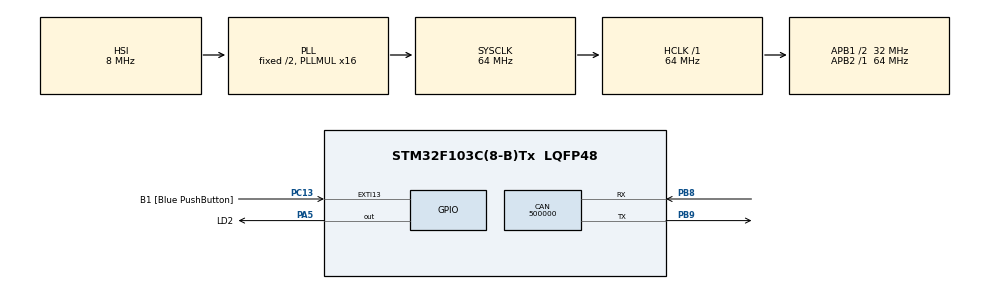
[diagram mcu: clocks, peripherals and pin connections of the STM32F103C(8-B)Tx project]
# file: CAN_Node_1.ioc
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CAN.BS1=CAN_BS1_2TQ
CAN.CalculateBaudRate=500000
CAN.CalculateTimeBit=2000
CAN.CalculateTimeQuantum=500.0
CAN.Mode=CAN_MODE_NORMAL
Mcu.Family=STM32F1
Mcu.Name=STM32F103C(8-B)Tx
Mcu.Package=LQFP48
NVIC.EXTI15_10_IRQn=true\:4\:0\:true\:false\:true\:true\:true\:true
NVIC.PriorityGroup=NVIC_PRIORITYGROUP_4
PA13.Mode=Serial_Wire
PA13.Signal=SYS_JTMS-SWDIO
PA14.Mode=Serial_Wire
PA14.Signal=SYS_JTCK-SWCLK
PA5.GPIO_Label=LD2
PA5.Signal=GPIO_Output
PB8.Mode=CAN_Activate
PB8.Signal=CAN_RX
PB9.Mode=CAN_Activate
PB9.Signal=CAN_TX
PC13-TAMPER-RTC.GPIO_Label=B1 [Blue PushButton]
PC13-TAMPER-RTC.Signal=GPXTI13
ProjectManager.HeapSize=0x200
ProjectManager.StackSize=0x400
ProjectManager.TargetToolchain=STM32CubeIDE
RCC.AHBFreq_Value=64000000
RCC.APB1CLKDivider=RCC_HCLK_DIV2
RCC.APB1Freq_Value=32000000
RCC.APB1TimFreq_Value=64000000
RCC.APB2Freq_Value=64000000
RCC.APB2TimFreq_Value=64000000
RCC.HCLKFreq_Value=64000000
RCC.PLLMUL=RCC_PLL_MUL16
RCC.SYSCLKFreq_VALUE=64000000
RCC.SYSCLKSource=RCC_SYSCLKSOURCE_PLLCLK
RCC.USBFreq_Value=64000000
board=custom

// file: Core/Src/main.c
/* USER CODE BEGIN Header */
/**
  ******************************************************************************
  * @file           : main.c
  * @brief          : Main program body
  ******************************************************************************
  * @attention
  *
  * Copyright (c) 2023 STMicroelectronics.
  * All rights reserved.
  *
  * This software is licensed under terms that can be found in the LICENSE file
  * in the root directory of this software component.
  * If no LICENSE file comes with this software, it is provided AS-IS.
  *
  ******************************************************************************
  */
/* USER CODE END Header */
#include "main.h"

/* USER CODE BEGIN PD */
#define PDU_ADD		0x01
#define DISCHARGE	0x05
#define PRECHARGE	0x03
#define OFF			0x00
/* USER CODE END PD */

CAN_HandleTypeDef hcan;

/* USER CODE BEGIN PV */
CAN_TxHeaderTypeDef TxHeader;
uint32_t TxMailbox;
uint8_t TxData[8];
uint8_t option = 0;

/* USER CODE END PV */

void SystemClock_Config(void);
static void MX_GPIO_Init(void);
static void MX_CAN_Init(void);
/* USER CODE BEGIN PFP */

void HAL_GPIO_EXTI_Callback(uint16_t GPIO_Pin){
	if(GPIO_Pin == B1_Pin){

/*TESTOWE WYSYLANIE WIADOMOSCI TODO*/
		switch(option){
		case 0:
			option = 1;
			TxData[0] = DISCHARGE;
			TxHeader.StdId = PDU_ADD;
			break;
		case 1:
			option = 2;
			TxData[0] = PRECHARGE;
			TxHeader.StdId = PDU_ADD;
			break;
		case 2:
			option = 0;
			TxData[0] = OFF;
			TxHeader.StdId = PDU_ADD;
			break;
		}
		HAL_CAN_AddTxMessage(&hcan, &TxHeader, TxData, &TxMailbox);
	}
}

/* USER CODE END PFP */

int main(void)
{

  /* MCU Configuration--------------------------------------------------------*/

  /* Reset of all peripherals, Initializes the Flash interface and the Systick. */
  HAL_Init();

  /* Configure the system clock */
  SystemClock_Config();

  /* Initialize all configured peripherals */
  MX_GPIO_Init();
  MX_CAN_Init();

  /* Infinite loop */
  /* USER CODE BEGIN WHILE */

  //	Testowe uruchomienie diody
  HAL_GPIO_WritePin(LD2_GPIO_Port, LD2_Pin, GPIO_PIN_SET);

  while (1)
  {
    /* USER CODE END WHILE */

  }
}

void SystemClock_Config(void)
{
  RCC_OscInitTypeDef RCC_OscInitStruct = {0};
  RCC_ClkInitTypeDef RCC_ClkInitStruct = {0};

  /** Initializes the RCC Oscillators according to the specified parameters
  * in the RCC_OscInitTypeDef structure.
  */
  RCC_OscInitStruct.OscillatorType = RCC_OSCILLATORTYPE_HSI;
  RCC_OscInitStruct.HSIState = RCC_HSI_ON;
  RCC_OscInitStruct.HSICalibrationValue = RCC_HSICALIBRATION_DEFAULT;
  RCC_OscInitStruct.PLL.PLLState = RCC_PLL_ON;
  RCC_OscInitStruct.PLL.PLLSource = RCC_PLLSOURCE_HSI_DIV2;
  RCC_OscInitStruct.PLL.PLLMUL = RCC_PLL_MUL16;
  if (HAL_RCC_OscConfig(&RCC_OscInitStruct) != HAL_OK)
  {
    Error_Handler();
  }

  /** Initializes the CPU, AHB and APB buses clocks
  */
  RCC_ClkInitStruct.ClockType = RCC_CLOCKTYPE_HCLK|RCC_CLOCKTYPE_SYSCLK
                              |RCC_CLOCKTYPE_PCLK1|RCC_CLOCKTYPE_PCLK2;
  RCC_ClkInitStruct.SYSCLKSource = RCC_SYSCLKSOURCE_PLLCLK;
  RCC_ClkInitStruct.AHBCLKDivider = RCC_SYSCLK_DIV1;
  RCC_ClkInitStruct.APB1CLKDivider = RCC_HCLK_DIV2;
  RCC_ClkInitStruct.APB2CLKDivider = RCC_HCLK_DIV1;

  if (HAL_RCC_ClockConfig(&RCC_ClkInitStruct, FLASH_LATENCY_2) != HAL_OK)
  {
    Error_Handler();
  }
}

static void MX_CAN_Init(void)
{

  hcan.Instance = CAN1;
  hcan.Init.Prescaler = 16;
  hcan.Init.Mode = CAN_MODE_NORMAL;
  hcan.Init.SyncJumpWidth = CAN_SJW_1TQ;
  hcan.Init.TimeSeg1 = CAN_BS1_2TQ;
  hcan.Init.TimeSeg2 = CAN_BS2_1TQ;
  hcan.Init.TimeTriggeredMode = DISABLE;
  hcan.Init.AutoBusOff = DISABLE;
  hcan.Init.AutoWakeUp = DISABLE;
  hcan.Init.AutoRetransmission = DISABLE;
  hcan.Init.ReceiveFifoLocked = DISABLE;
  hcan.Init.TransmitFifoPriority = DISABLE;
  if (HAL_CAN_Init(&hcan) != HAL_OK)
  {
    Error_Handler();
  }
  /* USER CODE BEGIN CAN_Init 2 */
  HAL_CAN_Start(&hcan);

  //TxHeader
  TxHeader.DLC = 1;
  TxHeader.IDE = CAN_ID_STD;
  TxHeader.RTR = CAN_RTR_DATA;
  TxHeader.StdId = 0x01;

  //CAN FILTER
  CAN_FilterTypeDef filterConf;
  filterConf.FilterActivation = CAN_FILTER_ENABLE;
  filterConf.FilterBank = 0;
  filterConf.FilterFIFOAssignment = CAN_FILTER_FIFO1;
  filterConf.FilterIdHigh = 0x1<<5;
  filterConf.FilterIdLow = 0;
  filterConf.FilterMaskIdHigh = 0x1<<5;
  filterConf.FilterMaskIdLow = 0;
  filterConf.FilterMode = CAN_FILTERMODE_IDMASK;
  filterConf.FilterScale = CAN_FILTERSCALE_32BIT;
  HAL_CAN_ConfigFilter(&hcan, &filterConf);
  /* USER CODE END CAN_Init 2 */

}

static void MX_GPIO_Init(void)
{
  GPIO_InitTypeDef GPIO_InitStruct = {0};

  /* GPIO Ports Clock Enable */
  __HAL_RCC_GPIOC_CLK_ENABLE();
  __HAL_RCC_GPIOA_CLK_ENABLE();
  __HAL_RCC_GPIOB_CLK_ENABLE();

  /*Configure GPIO pin Output Level */
  HAL_GPIO_WritePin(LD2_GPIO_Port, LD2_Pin, GPIO_PIN_RESET);

  /*Configure GPIO pin : B1_Pin */
  GPIO_InitStruct.Pin = B1_Pin;
  GPIO_InitStruct.Mode = GPIO_MODE_IT_RISING;
  GPIO_InitStruct.Pull = GPIO_NOPULL;
  HAL_GPIO_Init(B1_GPIO_Port, &GPIO_InitStruct);

  /*Configure GPIO pin : LD2_Pin */
  GPIO_InitStruct.Pin = LD2_Pin;
  GPIO_InitStruct.Mode = GPIO_MODE_OUTPUT_PP;
  GPIO_InitStruct.Pull = GPIO_NOPULL;
  GPIO_InitStruct.Speed = GPIO_SPEED_FREQ_LOW;
  HAL_GPIO_Init(LD2_GPIO_Port, &GPIO_InitStruct);

  /* EXTI interrupt init*/
  HAL_NVIC_SetPriority(EXTI15_10_IRQn, 4, 0);
  HAL_NVIC_EnableIRQ(EXTI15_10_IRQn);

}

void Error_Handler(void)
{
  __disable_irq();
  while (1)
  {
  }
}
